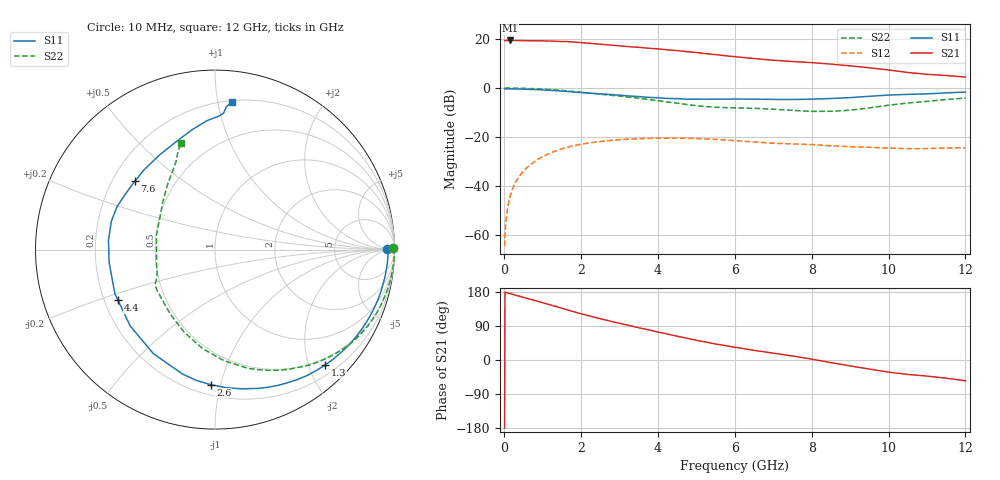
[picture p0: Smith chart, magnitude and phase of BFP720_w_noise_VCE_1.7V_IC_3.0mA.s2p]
! Infineon Technologies  Discrete & RF Semiconductors
! BFP720
! VCE =  1.7 V,  IC =  3.0 mA
! Common Emitter S-Parameters:  Aug 2012
# GHz  S  MA  R  50
!  f  S11  S21  S12  S22
! GHz  MAG  ANG  MAG  ANG  MAG  ANG  MAG  ANG
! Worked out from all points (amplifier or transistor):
!   105 points, 10 MHz to 12 GHz, reference 50 ohm
!   highest |S21| = 19.4 dB at 150 MHz (marker M1)
!   |S21| within 3 dB of that: start of sweep to 3.64 GHz
!   unconditionally stable (mu >= 1): 7.247 GHz to 11.81 GHz
!   at 300 MHz: K = 0.02, MSG = 28.8 dB, |S12| = -38.3 dB
!   at 3.6 GHz: K = 0.37, MSG = 18.5 dB, |S12| = -20.6 dB
!   at 12 GHz: K = 0.92, MSG = 14.4 dB, |S12| = -24.3 dB
!   lowest NFmin = 0.36 dB at 450 MHz
!   S11 on the Smith chart (normalised r, x): 10 MHz: 48, +4; 1.3 GHz: 0.37, -2.28; 2.6 GHz: 0.27, -0.93; 4.4 GHz: 0.26, -0.23; 7.6 GHz: 0.29, +0.34; 12 GHz: 0.21, +1.10
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0.01  0.9593 0.2  9.328 -179.8  0.0006 -82.0  0.9912 0.4
0.02  0.9636 -0.7  9.204 179.0  0.001 77.4  0.9991 -0.5
0.06  0.9639 -2.1  9.325 177.9  0.0024 92.2  0.9983 -1.6
0.15  0.9625 -5.1  9.332 175.4  0.0061 86.8  0.9984 -3.9
0.4  0.9541 -13.7  9.281 168.1  0.0162 80.9  0.9905 -10.4
0.8  0.9313 -27.9  9.226 156.9  0.0322 71.5  0.9692 -20.9
1.3  0.8888 -46.4  9.003 142.4  0.051 59.0  0.9202 -34.5
1.7  0.844 -61.6  8.771 130.5  0.0637 49.0  0.8641 -44.9
2.1  0.7995 -75.6  8.307 119.4  0.0738 39.6  0.8052 -54.6
2.6  0.7526 -91.9  7.708 106.4  0.0832 29.1  0.7368 -65.9
3  0.7176 -104.3  7.255 96.8  0.0888 21.6  0.6864 -74.5
3.5  0.6739 -120.6  6.766 85.1  0.0932 12.7  0.621 -85.3
4.1  0.6256 -141.5  6.169 71.7  0.0955 2.9  0.5414 -99.4
4.4  0.6096 -152.5  5.878 65.0  0.0957 -1.8  0.5026 -107.3
5  0.5943 -173.4  5.297 51.9  0.0937 -10.6  0.4386 -124.2
5.5  0.5956 175.0  4.798 42.2  0.0898 -16.7  0.4067 -136.3
6.1  0.5971 163.1  4.285 32.0  0.0838 -22.4  0.3931 -145.8
7.6  0.5867 139.6  3.437 9.0  0.0722 -29.1  0.3479 -158.1
8.5  0.6114 120.3  3.079 -6.9  0.0668 -32.8  0.3363 166.0
9.5  0.6792 101.0  2.59 -23.9  0.062 -33.0  0.3944 137.4
10.5  0.7437 88.4  2.08 -38.1  0.0582 -32.1  0.4955 118.6
12  0.8285 83.5  1.681 -54.9  0.0609 -31.2  0.6256 107.5
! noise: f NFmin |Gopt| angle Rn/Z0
0.45  0.36  0.64  5  0.2
1.8  0.5  0.57  28  0.16
2.4  0.56  0.45  71  0.19
5.5  0.77  0.32  80  0.12
10  1.12  0.43  -102  0.21
